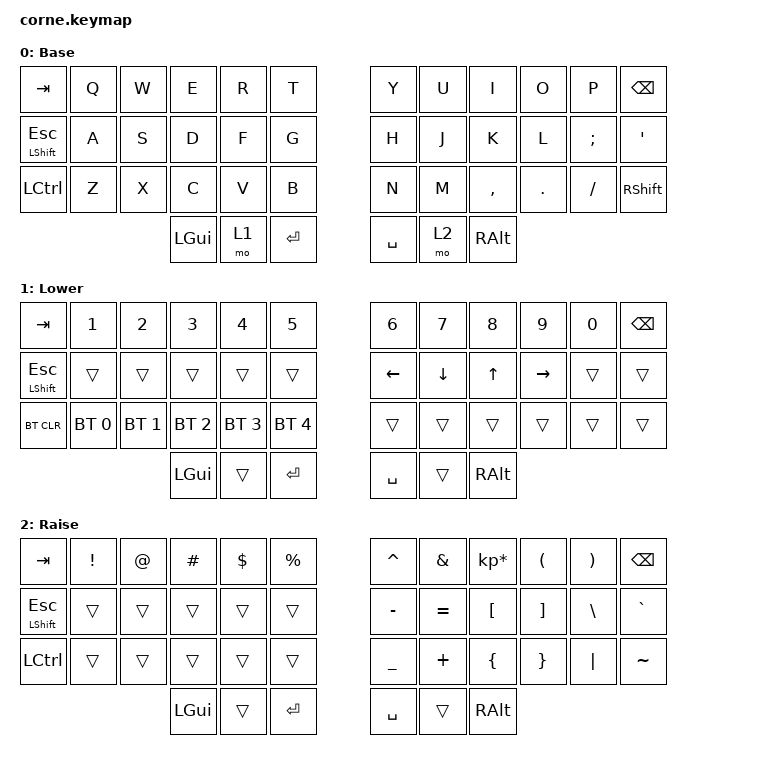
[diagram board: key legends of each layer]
/*
 * Copyright (c) 2020 The ZMK Contributors
 *
 * SPDX-License-Identifier: MIT
 */

#include <behaviors.dtsi>
#include <dt-bindings/zmk/keys.h>
#include <dt-bindings/zmk/bt.h>

/ {
        keymap {
                compatible = "zmk,keymap";

                default_layer {
// -----------------------------------------------------------------------------------------
// |  TAB |  Q  |  W  |  E  |  R  |  T  |   |  Y  |  U   |  I  |  O  |  P  | BKSP |
// | SHFT/ESC |  A  |  S  |  D  |  F  |  G  |   |  H  |  J   |  K  |  L  |  ;  |  '   |
// | CTRL |  Z  |  X  |  C  |  V  |  B  |   |  N  |  M   |  ,  |  .  |  /  | SHFT  |
//                    | GUI | LWR | ENT |   | SPC | RSE  | ALT |
                        display-name = "Base";
                        bindings = <
   &kp TAB       &kp Q &kp W &kp E &kp R &kp T   &kp Y     &kp U &kp I     &kp O   &kp P    &kp BSPC
   &mt LSHFT ESC &kp A &kp S &kp D &kp F &kp G   &kp H     &kp J &kp K     &kp L   &kp SEMI &kp SQT
   &kp LCTRL     &kp Z &kp X &kp C &kp V &kp B   &kp N     &kp M &kp COMMA &kp DOT &kp FSLH &kp RSHFT
                  &kp LGUI &mo 1 &kp RET     &kp SPACE &mo 2 &kp RALT
                        >;
                };
                lower_layer {
// -----------------------------------------------------------------------------------------
// |  TAB |  1  |  2  |  3  |  4  |  5  |   |  6  |  7  |  8  |  9  |  0  | BKSP |
// | SHFT |     |     |     |     |     |   | LFT | DWN |  UP | RGT |     |      |
// | BTCLR| BT1 | BT2 | BT3 | BT4 | BT5 |   |     |     |     |     |     |      |
//                    | GUI |     | ENT |   | SPC |     | ALT |
                        display-name = "Lower";
                        bindings = <
   &kp TAB        &kp N1       &kp N2       &kp N3       &kp N4       &kp N5         &kp N6     &kp N7   &kp N8 &kp N9    &kp N0 &kp BSPC
   &mt LSHFT ESC  &trans       &trans       &trans       &trans       &trans         &kp LEFT   &kp DOWN &kp UP &kp RIGHT &trans &trans
   &bt BT_CLR     &bt BT_SEL 0 &bt BT_SEL 1 &bt BT_SEL 2 &bt BT_SEL 3 &bt BT_SEL 4   &trans     &trans   &trans &trans    &trans &trans
                          	        &kp LGUI     &trans       &kp RET        &kp SPACE  &trans   &kp RALT
                        >;
                };

                raise_layer {
// -----------------------------------------------------------------------------------------
// |  TAB |  !  |  @  |  #  |  $  |  %  |   |  ^  |  &  |  *  |  (  |  )  | BKSP |
// | SHFT/ESC |     |     |     |     |     |   |  -  |  =  |  [  |  ]  |  \  |  `   |
// | CTRL |     |     |     |     |     |   |  _  |  +  |  {  |  }  | "|" |  ~   |
//                    | GUI |     | ENT |   | SPC |     | ALT |
                        display-name = "Raise";
                        bindings = <
   &kp  TAB      &kp EXCL &kp AT &kp HASH &kp DLLR &kp PRCNT   &kp CARET   &kp AMPS  &kp KP_MULTIPLY &kp LPAR &kp RPAR &kp BSPC
   &mt LSHFT ESC &trans   &trans &trans   &trans   &trans      &kp MINUS   &kp EQUAL &kp LBKT        &kp RBKT &kp BSLH &kp GRAVE
   &kp LCTRL     &trans   &trans &trans   &trans   &trans      &kp UNDER   &kp PLUS  &kp LBRC        &kp RBRC &kp PIPE &kp TILDE
                    	     &kp LGUI &trans   &kp RET     &kp SPACE   &trans    &kp RALT
                        >;
                };
        };
};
